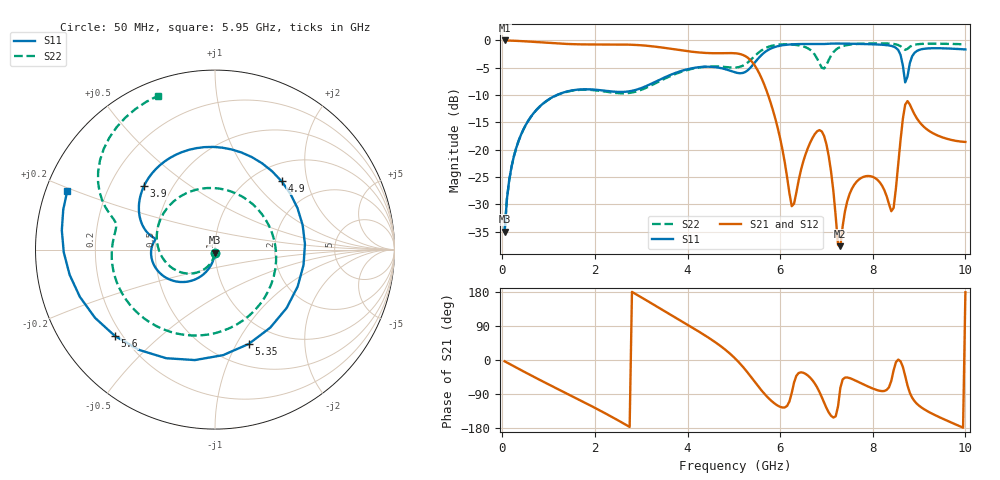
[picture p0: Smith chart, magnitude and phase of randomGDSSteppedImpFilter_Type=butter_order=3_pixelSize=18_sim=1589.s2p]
! freq	dB(S11)	phase(S11)	dB(S12)	phase(S12)
!  dB(S21)	phase(S21)	dB(S22)	phase(S22)
!S-par simulation data
#  GHz  S  DB  R 50
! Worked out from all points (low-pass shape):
!   200 points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, 50 MHz to 10 GHz, reference 50 ohm
!   highest |S21| = -0.01 dB at 50 MHz (marker M1); lowest = -37.7 dB at 7.3 GHz (marker M2)
!   |S21| within 3 dB of the highest: start of sweep to 5.272 GHz
!   lowest |S11| = -35.0 dB at 50 MHz (marker M3), VSWR 1.04, Z = 49.9 - j1.77 ohm
!   |S11| at or under -10 dB: start of sweep to 1.176 GHz
!   |S22| runs from -35.0 to -0.5 dB; largest |S21 - S12| = 0
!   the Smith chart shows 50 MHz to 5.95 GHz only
!   S11 on the Smith chart (normalised r, x): 50 MHz: 1.00, -0.04; 3.9 GHz: 0.35, +0.34; 4.9 GHz: 1.33, +1.41; 5.35 GHz: 0.74, -1.12; 5.6 GHz: 0.17, -0.36; 5.95 GHz: 0.06, +0.19
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0.05  -35.00 -92.4  -0.01 -3.4  -0.01 -3.4  -35.01 -93.6
0.5  -15.58 -117.6  -0.17 -32.8  -0.17 -32.8  -15.60 -128.9
1.75  -8.95 -173.3  -0.73 -110.6  -0.73 -110.6  -9.02 131.4
2.65  -9.41 169.8  -0.75 -169.6  -0.75 -169.6  -9.68 30.5
3.4  -7.19 159.8  -1.25 136.5  -1.25 136.5  -7.45 -68.2
3.9  -5.50 138.3  -1.86 100.3  -1.86 100.3  -5.65 -118.6
4.9  -5.49 45.7  -2.32 18.5  -2.32 18.5  -4.93 172.2
5.05  -5.90 15.6  -2.37 1.4  -2.37 1.4  -4.95 166.9
5.35  -5.07 -70.3  -3.53 -41.4  -3.53 -41.4  -3.67 158.8
5.6  -2.65 -139.2  -6.95 -80.6  -6.95 -80.6  -1.81 142.1
5.95  -1.05 158.2  -16.12 -120.5  -16.12 -120.5  -0.78 110.3
6.25  -0.72 123.6  -30.35 -87.1  -30.35 -87.1  -0.75 81.7
6.7  -0.67 84.7  -17.83 -53.8  -17.83 -53.8  -2.11 12.1
6.9  -0.68 70.1  -16.67 -98.4  -16.67 -98.4  -5.01 -82.5
7.05  -0.60 59.2  -21.24 -138.5  -21.24 -138.5  -3.57 175.2
7.3  -0.57 40.8  -37.67 -73.3  -37.67 -73.3  -1.20 101.9
7.7  -0.64 12.1  -25.47 -58.6  -25.47 -58.6  -0.62 57.0
8.35  -0.92 -37.7  -29.95 -72.0  -29.95 -72.0  -0.58 14.4
8.6  -2.65 -67.8  -18.21 -3.5  -18.21 -3.5  -1.07 -0.4
8.75  -6.60 -39.6  -11.11 -67.4  -11.11 -67.4  -1.54 -0.6
9.2  -1.46 -76.4  -16.47 -136.4  -16.47 -136.4  -0.60 -22.1
10  -1.65 -129.8  -18.59 178.8  -18.59 178.8  -0.71 -55.5
